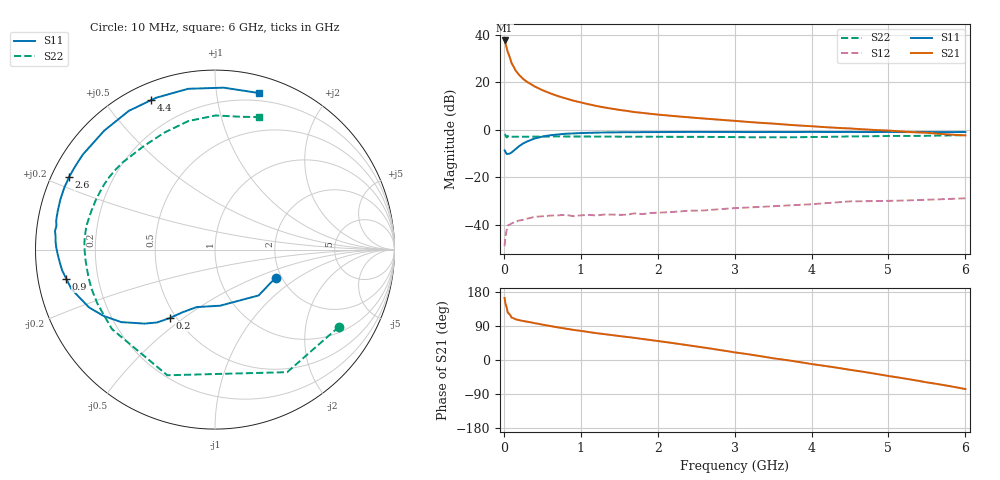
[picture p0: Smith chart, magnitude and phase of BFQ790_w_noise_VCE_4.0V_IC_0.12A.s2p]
! Infineon Technologies  Discrete & RF Semiconductors
! BFQ790
! VCE =  4.0 V,  IC = 0.12 A
! Common Emitter S-Parameters:  May 2015
# GHz  S  MA  R  50
!  f  S11  S21  S12  S22
! GHz  MAG  ANG  MAG  ANG  MAG  ANG  MAG  ANG
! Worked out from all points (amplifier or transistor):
!   77 points, 10 MHz to 6 GHz, reference 50 ohm
!   highest |S21| = 37.6 dB at 10 MHz (marker M1)
!   |S21| within 3 dB of that: start of sweep to 36.04 MHz
!   unconditionally stable (mu >= 1): 236 MHz to 380.6 MHz; 889.8 MHz to 947.3 MHz; 1.035 GHz to end of sweep
!   at 130 MHz: K = 0.78, MSG = 32.7 dB, |S12| = -38.9 dB
!   at 2.2 GHz: K = 1.24, MAG = 17.2 dB, |S12| = -34.5 dB
!   at 6 GHz: K = 1.22, MAG = 10.4 dB, |S12| = -28.7 dB
!   lowest NFmin = 2.73 dB at 1.5 GHz
!   S11 on the Smith chart (normalised r, x): 10 MHz: 1.86, -0.68; 200 MHz: 0.46, -0.45; 900 MHz: 0.09, -0.10; 2.6 GHz: 0.05, +0.23; 4.4 GHz: 0.07, +0.66; 6 GHz: 0.13, +1.31
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0.01  0.372 -24.9  76.03 163.6  0.0036 56.9  0.8137 -31.9
0.02  0.3526 -46.4  67.91 149.3  0.0056 52.3  0.7925 -59.5
0.05  0.3139 -84.9  43.82 125.3  0.0098 35.7  0.7489 -110.8
0.1  0.3362 -107.7  25.44 112.1  0.0108 20.5  0.7251 -142.4
0.15  0.3916 -117.2  18.04 107.6  0.0117 21.6  0.7211 -155.4
0.2  0.4574 -123.5  14.22 105.0  0.0125 19.9  0.7217 -162.4
0.25  0.5187 -128.5  11.87 103.0  0.0128 18.0  0.7214 -166.9
0.3  0.5694 -133.6  10.25 101.2  0.0136 15.3  0.7211 -170.3
0.4  0.6607 -142.3  8.215 97.2  0.0149 14.3  0.7235 -175.2
0.5  0.7237 -149.4  6.86 93.4  0.0153 10.7  0.7257 -178.7
0.6  0.7719 -155.3  5.914 89.8  0.0158 11.6  0.7281 178.5
0.7  0.8008 -160.5  5.166 86.2  0.016 10.7  0.7286 176.1
0.9  0.8445 -168.9  4.145 79.6  0.0154 6.9  0.728 172.3
1.1  0.8685 -175.5  3.47 73.9  0.0164 8.0  0.7275 169.0
1.5  0.8915 175.2  2.641 63.3  0.0164 6.9  0.7218 163.4
2.1  0.9034 164.0  2.033 47.4  0.0185 4.7  0.7173 154.9
2.6  0.9082 153.5  1.737 32.8  0.0203 2.7  0.7145 145.6
3.1  0.904 142.0  1.506 17.4  0.0231 -3.5  0.7037 134.4
4.1  0.907 119.7  1.166 -13.5  0.0282 -15.4  0.712 111.1
4.4  0.9054 113.3  1.092 -22.6  0.0306 -20.3  0.7248 104.0
5.1  0.9039 97.0  0.944 -45.3  0.0325 -32.8  0.7466 87.6
6  0.9063 74.2  0.767 -76.7  0.0366 -52.0  0.7773 71.7
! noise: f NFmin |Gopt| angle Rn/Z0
0.45  4.3  0.41  134  0.42
0.9  3.08  0.54  164  0.15
1.5  2.73  0.66  -174  0.08
1.8  2.83  0.68  -169  0.08
2.6  3.21  0.73  -152  0.21
3.5  3.79  0.83  -136  0.49
